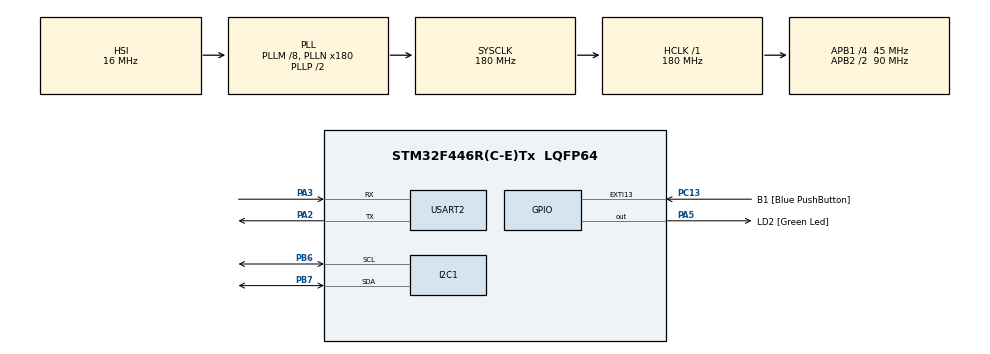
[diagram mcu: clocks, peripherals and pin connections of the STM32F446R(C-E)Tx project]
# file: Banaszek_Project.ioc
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I2C1.I2C_Mode=I2C_Standard
Mcu.Family=STM32F4
Mcu.Name=STM32F446R(C-E)Tx
Mcu.Package=LQFP64
NVIC.I2C1_ER_IRQn=true\:0\:0\:false\:false\:true\:true\:true\:true
NVIC.I2C1_EV_IRQn=true\:0\:0\:false\:false\:true\:true\:true\:true
NVIC.PriorityGroup=NVIC_PRIORITYGROUP_0
NVIC.USART2_IRQn=true\:0\:0\:false\:false\:true\:true\:true\:true
PA13.GPIO_Label=TMS
PA13.Mode=Serial_Wire
PA13.Signal=SYS_JTMS-SWDIO
PA14.GPIO_Label=TCK
PA14.Mode=Serial_Wire
PA14.Signal=SYS_JTCK-SWCLK
PA2.Mode=Asynchronous
PA2.Signal=USART2_TX
PA3.Mode=Asynchronous
PA3.Signal=USART2_RX
PA5.GPIO_Label=LD2 [Green Led]
PA5.PinState=GPIO_PIN_RESET
PA5.Signal=GPIO_Output
PB3.GPIO_Label=SWO
PB3.Signal=SYS_JTDO-SWO
PB6.GPIO_Pu=GPIO_PULLUP
PB6.Mode=I2C
PB6.Signal=I2C1_SCL
PB7.GPIO_Pu=GPIO_PULLUP
PB7.GPIO_Speed=GPIO_SPEED_FREQ_VERY_HIGH
PB7.Mode=I2C
PB7.Signal=I2C1_SDA
PC13.GPIO_Label=B1 [Blue PushButton]
PC13.GPIO_ModeDefaultEXTI=GPIO_MODE_IT_FALLING
PC13.Signal=GPXTI13
PC14-OSC32_IN.Mode=LSE-External-Oscillator
PC14-OSC32_IN.Signal=RCC_OSC32_IN
PC15-OSC32_OUT.Mode=LSE-External-Oscillator
PC15-OSC32_OUT.Signal=RCC_OSC32_OUT
PH0-OSC_IN.Mode=HSE-External-Oscillator
PH0-OSC_IN.Signal=RCC_OSC_IN
PH1-OSC_OUT.Mode=HSE-External-Oscillator
PH1-OSC_OUT.Signal=RCC_OSC_OUT
ProjectManager.HeapSize=0x200
ProjectManager.StackSize=0x400
ProjectManager.TargetToolchain=STM32CubeIDE
RCC.48MHZClocksFreq_Value=84000000
RCC.AHBFreq_Value=180000000
RCC.APB1CLKDivider=RCC_HCLK_DIV4
RCC.APB1Freq_Value=45000000
RCC.APB1TimFreq_Value=90000000
RCC.APB2CLKDivider=RCC_HCLK_DIV2
RCC.APB2Freq_Value=90000000
RCC.APB2TimFreq_Value=180000000
RCC.CortexFreq_Value=180000000
RCC.FLatency-AdvancedSettings=FLASH_LATENCY_5
RCC.HCLKFreq_Value=180000000
RCC.HSE_VALUE=8000000
RCC.HSI_VALUE=16000000
RCC.PLLM=8
RCC.PLLN=180
RCC.SYSCLKFreq_VALUE=180000000
RCC.SYSCLKSource=RCC_SYSCLKSOURCE_PLLCLK
RCC.USBFreq_Value=180000000
RCC.VCOOutputFreq_Value=360000000
USART2.VirtualMode=VM_ASYNC
board=NUCLEO-F446RE

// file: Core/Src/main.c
/* USER CODE BEGIN Header */
/**
 ******************************************************************************
 * @file           : main.c
 * @brief          : Main program body
 ******************************************************************************
 * @attention
 *
 * Copyright (c) 2025 STMicroelectronics.
 * All rights reserved.
 *
 * This software is licensed under terms that can be found in the LICENSE file
 * in the root directory of this software component.
 * If no LICENSE file comes with this software, it is provided AS-IS.
 *
 ******************************************************************************
 */
/* USER CODE END Header */
#include "main.h"

/* USER CODE BEGIN Includes */
#include "stm32f4xx_hal.h"
#include "circular_buffer.h"
#include "crc8.h"
#include "protocol.h"
#include "bh1750.h"

/* USER CODE END Includes */

I2C_HandleTypeDef hi2c1;

UART_HandleTypeDef huart2;

/* USER CODE BEGIN PV */
uint8_t rx_byte;

/* USER CODE END PV */

void SystemClock_Config(void);
static void MX_GPIO_Init(void);
static void MX_USART2_UART_Init(void);
static void MX_I2C1_Init(void);

/* USER CODE BEGIN 0 */

void HAL_UART_TxCpltCallback(UART_HandleTypeDef *huart) {
  if (huart == &huart2) {
    if (USART_TX_Empty != USART_TX_Busy) {
      uint8_t tmp = USART_TxBuf[USART_TX_Busy];
      USART_TX_Busy++;
      if (USART_TX_Busy >= USART_TXBUF_LEN)
        USART_TX_Busy = 0;
      HAL_UART_Transmit_IT(&huart2, &tmp, 1);
    }
  }
}

void HAL_UART_RxCpltCallback(UART_HandleTypeDef *huart) {
  if (huart == &huart2) {
    int next_head = (USART_RX_Empty + 1) % USART_RXBUF_LEN;
    if (next_head == USART_RX_Busy) {
      USART_RxBufOverflow = 1;
    } else {
      USART_RxBuf[USART_RX_Empty] = rx_byte;
      USART_RX_Empty = next_head;
    }
    HAL_UART_Receive_IT(&huart2, &rx_byte, 1);
  }
}

/* USER CODE END 0 */

int main(void)
{

  /* MCU Configuration--------------------------------------------------------*/

  /* Reset of all peripherals, Initializes the Flash interface and the Systick. */
  HAL_Init();

  /* Configure the system clock */
  SystemClock_Config();

  /* Initialize all configured peripherals */
  MX_GPIO_Init();
  MX_USART2_UART_Init();
  MX_I2C1_Init();
  /* USER CODE BEGIN 2 */
	USART_fsend("\r\nSYSTEM START\r\n");
	Measurement_FillTestData();

  /* USER CODE END 2 */

  /* Infinite loop */
  /* USER CODE BEGIN WHILE */
	HAL_UART_Receive_IT(&huart2, &rx_byte, 1);

	while (1) {

    /* USER CODE END WHILE */

    /* USER CODE BEGIN 3 */
		process_uart_buffer();
		BH1750_Init_Process();
		Measurement_AutoRead_Process();

		if(USART_RxBufOverflow) {
			USART_fsend("\r\nERROR: USART RX buffer overflow!\r\n");
			USART_RxBufOverflow = 0;
		}
	}

  /* USER CODE END 3 */
}

void SystemClock_Config(void)
{
  RCC_OscInitTypeDef RCC_OscInitStruct = {0};
  RCC_ClkInitTypeDef RCC_ClkInitStruct = {0};

  /** Configure the main internal regulator output voltage
  */
  __HAL_RCC_PWR_CLK_ENABLE();
  __HAL_PWR_VOLTAGESCALING_CONFIG(PWR_REGULATOR_VOLTAGE_SCALE1);

  /** Initializes the RCC Oscillators according to the specified parameters
  * in the RCC_OscInitTypeDef structure.
  */
  RCC_OscInitStruct.OscillatorType = RCC_OSCILLATORTYPE_HSI;
  RCC_OscInitStruct.HSIState = RCC_HSI_ON;
  RCC_OscInitStruct.HSICalibrationValue = RCC_HSICALIBRATION_DEFAULT;
  RCC_OscInitStruct.PLL.PLLState = RCC_PLL_ON;
  RCC_OscInitStruct.PLL.PLLSource = RCC_PLLSOURCE_HSI;
  RCC_OscInitStruct.PLL.PLLM = 8;
  RCC_OscInitStruct.PLL.PLLN = 180;
  RCC_OscInitStruct.PLL.PLLP = RCC_PLLP_DIV2;
  RCC_OscInitStruct.PLL.PLLQ = 2;
  RCC_OscInitStruct.PLL.PLLR = 2;
  if (HAL_RCC_OscConfig(&RCC_OscInitStruct) != HAL_OK)
  {
    Error_Handler();
  }

  /** Activate the Over-Drive mode
  */
  if (HAL_PWREx_EnableOverDrive() != HAL_OK)
  {
    Error_Handler();
  }

  /** Initializes the CPU, AHB and APB buses clocks
  */
  RCC_ClkInitStruct.ClockType = RCC_CLOCKTYPE_HCLK|RCC_CLOCKTYPE_SYSCLK
                              |RCC_CLOCKTYPE_PCLK1|RCC_CLOCKTYPE_PCLK2;
  RCC_ClkInitStruct.SYSCLKSource = RCC_SYSCLKSOURCE_PLLCLK;
  RCC_ClkInitStruct.AHBCLKDivider = RCC_SYSCLK_DIV1;
  RCC_ClkInitStruct.APB1CLKDivider = RCC_HCLK_DIV4;
  RCC_ClkInitStruct.APB2CLKDivider = RCC_HCLK_DIV2;

  if (HAL_RCC_ClockConfig(&RCC_ClkInitStruct, FLASH_LATENCY_5) != HAL_OK)
  {
    Error_Handler();
  }
}

static void MX_I2C1_Init(void)
{

  hi2c1.Instance = I2C1;
  hi2c1.Init.ClockSpeed = 100000;
  hi2c1.Init.DutyCycle = I2C_DUTYCYCLE_2;
  hi2c1.Init.OwnAddress1 = 0;
  hi2c1.Init.AddressingMode = I2C_ADDRESSINGMODE_7BIT;
  hi2c1.Init.DualAddressMode = I2C_DUALADDRESS_DISABLE;
  hi2c1.Init.OwnAddress2 = 0;
  hi2c1.Init.GeneralCallMode = I2C_GENERALCALL_DISABLE;
  hi2c1.Init.NoStretchMode = I2C_NOSTRETCH_DISABLE;
  if (HAL_I2C_Init(&hi2c1) != HAL_OK)
  {
    Error_Handler();
  }

}

static void MX_USART2_UART_Init(void)
{

  huart2.Instance = USART2;
  huart2.Init.BaudRate = 115200;
  huart2.Init.WordLength = UART_WORDLENGTH_8B;
  huart2.Init.StopBits = UART_STOPBITS_1;
  huart2.Init.Parity = UART_PARITY_NONE;
  huart2.Init.Mode = UART_MODE_TX_RX;
  huart2.Init.HwFlowCtl = UART_HWCONTROL_NONE;
  huart2.Init.OverSampling = UART_OVERSAMPLING_16;
  if (HAL_UART_Init(&huart2) != HAL_OK)
  {
    Error_Handler();
  }

}

static void MX_GPIO_Init(void)
{
  GPIO_InitTypeDef GPIO_InitStruct = {0};

  /* GPIO Ports Clock Enable */
  __HAL_RCC_GPIOC_CLK_ENABLE();
  __HAL_RCC_GPIOH_CLK_ENABLE();
  __HAL_RCC_GPIOA_CLK_ENABLE();
  __HAL_RCC_GPIOB_CLK_ENABLE();

  /*Configure GPIO pin Output Level */
  HAL_GPIO_WritePin(LD2_GPIO_Port, LD2_Pin, GPIO_PIN_RESET);

  /*Configure GPIO pin : B1_Pin */
  GPIO_InitStruct.Pin = B1_Pin;
  GPIO_InitStruct.Mode = GPIO_MODE_IT_FALLING;
  GPIO_InitStruct.Pull = GPIO_NOPULL;
  HAL_GPIO_Init(B1_GPIO_Port, &GPIO_InitStruct);

  /*Configure GPIO pin : LD2_Pin */
  GPIO_InitStruct.Pin = LD2_Pin;
  GPIO_InitStruct.Mode = GPIO_MODE_OUTPUT_PP;
  GPIO_InitStruct.Pull = GPIO_NOPULL;
  GPIO_InitStruct.Speed = GPIO_SPEED_FREQ_LOW;
  HAL_GPIO_Init(LD2_GPIO_Port, &GPIO_InitStruct);

}

void Error_Handler(void)
{
	__disable_irq();
	while (1) {
	}
}
